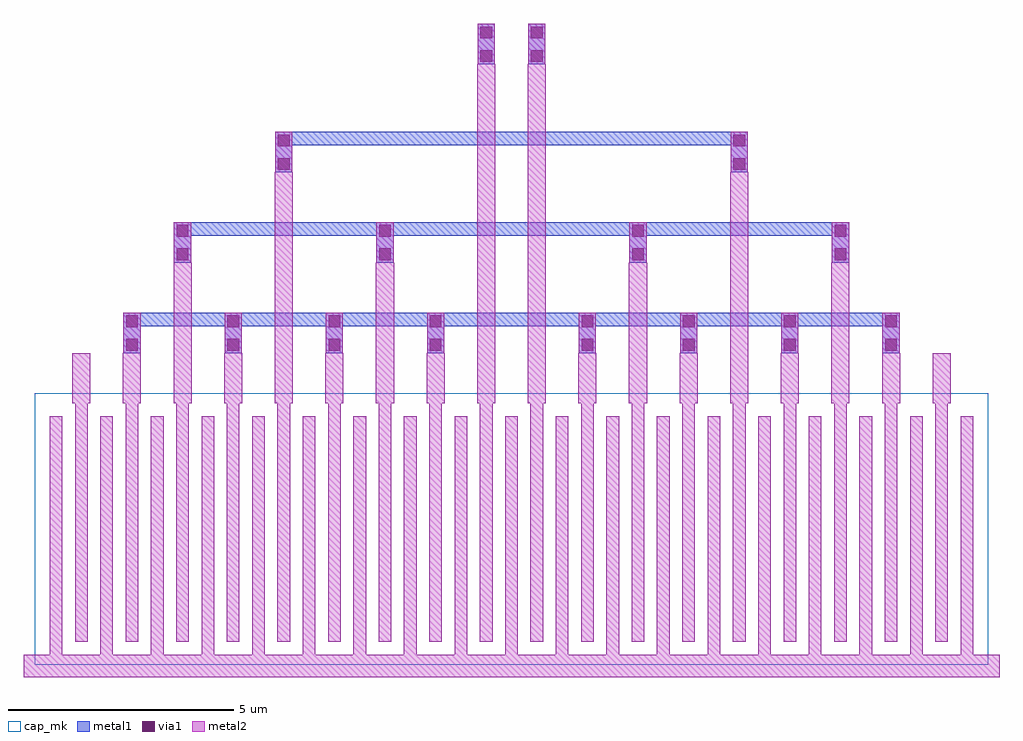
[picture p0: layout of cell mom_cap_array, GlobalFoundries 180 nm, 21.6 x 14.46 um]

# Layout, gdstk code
import gdstk
lib = gdstk.Library(unit=1e-6, precision=1e-09)
def R(c, l, rs):  # rectangles x0, y0, x1, y1
    for r in rs: c.add(gdstk.rectangle(r[:2], r[2:], *l))
def A(c, l, x, y, w, h, nx, ny, dx, dy):  # array of equal rectangles
    R(c, l, [(x+i*dx, y+j*dy, x+i*dx+w, y+j*dy+h) for i in range(nx) for j in range(ny)])
metal1 = (34, 0)
via1 = (35, 0)
metal2 = (36, 0)
cap_mk = (117, 5)

mom_cap_array = lib.new_cell('mom_cap_array')
A(mom_cap_array, metal1, 0.37, 3.89, 0.38, 0.9, 4, 1, 2.24, 0)
A(mom_cap_array, metal1, 0.37, 3.89, 0.23, 0.87, 4, 1, 2.24, 0)
A(mom_cap_array, metal1, 10.45, 3.89, 0.38, 0.9, 4, 1, 2.24, 0)
A(mom_cap_array, metal1, 10.6, 3.89, 0.23, 0.87, 4, 1, 2.24, 0)
R(mom_cap_array, metal1, [(0.37,4.49,17.55,4.79), (1.49,5.89,1.87,6.79), (1.49,5.89,1.87,6.79), (1.49,5.89,1.72,6.76), (1.49,5.89,1.72,6.76), (5.97,5.89,6.35,6.79), (5.97,5.89,6.2,6.76), (11.57,5.89,11.95,6.79), (11.72,5.89,11.95,6.76), (16.05,5.89,16.43,6.79), (16.05,5.89,16.43,6.79), (16.2,5.89,16.43,6.76), (16.2,5.89,16.43,6.76), (1.49,6.49,16.43,6.79), (3.73,7.89,4.11,8.79), (3.73,7.89,3.96,8.76), (13.81,7.89,14.19,8.79), (13.96,7.89,14.19,8.76), (3.73,8.49,14.19,8.79), (8.21,10.28,8.59,11.18), (8.21,10.28,8.44,11.15), (9.33,10.28,9.71,11.18), (9.48,10.28,9.71,11.15)])
A(mom_cap_array, via1, 0.43, 3.95, 0.26, 0.26, 4, 2, 2.24, 0.52)
A(mom_cap_array, via1, 10.51, 3.95, 0.26, 0.26, 4, 2, 2.24, 0.52)
R(mom_cap_array, via1, [(1.55,5.95,1.81,6.21), (1.55,5.95,1.81,6.21), (6.03,5.95,6.29,6.21), (11.63,5.95,11.89,6.21), (16.11,5.95,16.37,6.21), (16.11,5.95,16.37,6.21), (1.55,6.47,1.81,6.73), (1.55,6.47,1.81,6.73), (6.03,6.47,6.29,6.73), (11.63,6.47,11.89,6.73), (16.11,6.47,16.37,6.73), (16.11,6.47,16.37,6.73), (3.79,7.95,4.05,8.21), (13.87,7.95,14.13,8.21), (3.79,8.47,4.05,8.73), (13.87,8.47,14.13,8.73), (8.27,10.34,8.53,10.6), (9.39,10.34,9.65,10.6), (8.27,10.86,8.53,11.12), (9.39,10.86,9.65,11.12)])
A(mom_cap_array, metal2, -1.84, -3.28, 2, 0.5, 9, 1, 1.12, 0)
A(mom_cap_array, metal2, 8.8, -3.28, 2, 0.5, 9, 1, 1.12, 0)
A(mom_cap_array, metal2, -1.26, -2.78, 0.28, 5.28, 10, 1, 1.12, 0)
A(mom_cap_array, metal2, 8.82, -2.78, 0.28, 5.28, 10, 1, 1.12, 0)
A(mom_cap_array, metal2, -0.7, -2.5, 0.28, 5.28, 18, 1, 1.12, 0)
A(mom_cap_array, metal2, 0.36, 2.78, 0.4, 1.11, 4, 1, 2.24, 0)
A(mom_cap_array, metal2, 10.44, 2.78, 0.4, 1.11, 4, 1, 2.24, 0)
A(mom_cap_array, metal2, 0.37, 3.89, 0.38, 0.9, 4, 1, 2.24, 0)
A(mom_cap_array, metal2, 10.45, 3.89, 0.38, 0.9, 4, 1, 2.24, 0)
R(mom_cap_array, metal2, [(-0.76,2.78,-0.36,3.89), (1.48,2.78,1.88,5.89), (3.72,2.78,4.12,7.89), (5.96,2.78,6.36,5.89), (8.2,2.78,8.6,10.28), (9.32,2.78,9.72,10.28), (11.56,2.78,11.96,5.89), (13.8,2.78,14.2,7.89), (16.04,2.78,16.44,5.89), (18.28,2.78,18.68,3.89), (1.49,5.89,1.87,6.79), (1.49,5.89,1.87,6.79), (5.97,5.89,6.35,6.79), (11.57,5.89,11.95,6.79), (16.05,5.89,16.43,6.79), (16.05,5.89,16.43,6.79), (3.73,7.89,4.11,8.79), (13.81,7.89,14.19,8.79), (8.21,10.28,8.59,11.18), (9.33,10.28,9.71,11.18)])
A(mom_cap_array, cap_mk, -1.59, -3, 1.5, 6, 9, 1, 1.12, 0)
A(mom_cap_array, cap_mk, 9.05, -3, 1.5, 6, 9, 1, 1.12, 0)
R(mom_cap_array, cap_mk, [(8.21,-3,9.71,3)])

lib.write_gds('mom_cap_array.gds')
